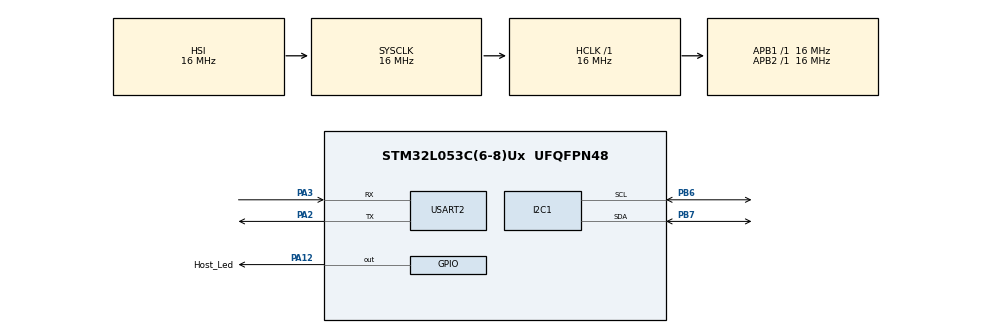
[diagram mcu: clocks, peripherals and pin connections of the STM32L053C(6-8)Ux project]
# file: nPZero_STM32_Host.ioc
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I2C1.I2C_Rise_Time=100
I2C1.Speed=100
I2C1.Timing=0x00503D58
Mcu.Family=STM32L0
Mcu.Name=STM32L053C(6-8)Ux
Mcu.Package=UFQFPN48
PA12.GPIO_Label=Host_Led
PA12.GPIO_PuPd=GPIO_NOPULL
PA12.PinState=GPIO_PIN_SET
PA12.Signal=GPIO_Output
PA2.Mode=Asynchronous
PA2.Signal=USART2_TX
PA3.Mode=Asynchronous
PA3.Signal=USART2_RX
PB6.GPIO_Pu=GPIO_PULLUP
PB6.Mode=I2C
PB6.Signal=I2C1_SCL
PB7.GPIO_Pu=GPIO_PULLUP
PB7.Mode=I2C
PB7.Signal=I2C1_SDA
ProjectManager.HeapSize=0x200
ProjectManager.StackSize=0x400
ProjectManager.TargetToolchain=STM32CubeIDE
RCC.AHBFreq_Value=16000000
RCC.APB1Freq_Value=16000000
RCC.APB1TimFreq_Value=16000000
RCC.APB2Freq_Value=16000000
RCC.APB2TimFreq_Value=16000000
RCC.HCLKFreq_Value=16000000
RCC.HSE_VALUE=25000000
RCC.HSI16_VALUE=16000000
RCC.HSI48_VALUE=48000000
RCC.HSI_VALUE=16000000
RCC.I2c1ClockSelection=RCC_I2C1CLKSOURCE_HSI
RCC.LSE_VALUE=32768
RCC.MSI_VALUE=2097000
RCC.SYSCLKFreq_VALUE=16000000
RCC.SYSCLKSource=RCC_SYSCLKSOURCE_HSI
RCC.Usart2ClockSelection=RCC_USART2CLKSOURCE_HSI
RCC.VCOOutputFreq_Value=48000000
USART2.VirtualMode-Asynchronous=VM_ASYNC
VP_SYS_V_PVD_IN.Mode=Mode_PVD_Int
board=custom

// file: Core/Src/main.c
/* USER CODE BEGIN Header */
/**
 ******************************************************************************
 * @file           : main.c
 * @brief          : Main program body
 ******************************************************************************
 * @attention
 *
 * Copyright (c) 2023 STMicroelectronics.
 * All rights reserved.
 *
 * This software is licensed under terms that can be found in the LICENSE file
 * in the root directory of this software component.
 * If no LICENSE file comes with this software, it is provided AS-IS.
 *
 ******************************************************************************
 */
/* USER CODE END Header */
#include "main.h"

/* USER CODE BEGIN Includes */
#include "stm32l0xx_hal.h"
#include <stdio.h>

#include "../../Drivers/nPZero_Driver/Inc/npz.h"
#include "../../Drivers/nPZero_Driver/Inc/npz_device_control.h"
#include "../../Drivers/nPZero_Driver/Inc/npz_hal.h"
#include "../../Drivers/nPZero_Driver/Inc/npz_logs.h"
#include "../../Drivers/nPZero_Driver/Inc/npz_registers.h"
/* USER CODE END Includes */

I2C_HandleTypeDef hi2c1;

UART_HandleTypeDef huart2;

void SystemClock_Config(void);
static void MX_GPIO_Init(void);
static void MX_I2C1_Init(void);
static void MX_USART2_UART_Init(void);
/* USER CODE BEGIN PFP */
void Configure_BOR();
void Check_Reset_Cause();
/* USER CODE END PFP */

/* USER CODE BEGIN 0 */
int _write(int file, char *data, int len)
{
	HAL_UART_Transmit(&huart2, (uint8_t*) data, len, HAL_MAX_DELAY);
	return len;
}

npz_peripheral_config_s peripheral_3 = {
    .power_mode = POWER_MODE_PERIODIC,
    .communication_protocol = COM_SPI,
    .polling_mode = POLLING_MODE_PERIODIC_READ_COMPARE_THRESHOLD,
    .power_switch_mode = POWER_SWITCH_MODE_LOGIC_OUTPUT_HIGH,
    .interrupt_pin_mode = INTERRUPT_PIN_MODE_INPUT_ACTIVE_HIGH,
    .comparison_mode = COMPARISON_MODE_INSIDE_THRESHOLD,
    .sensor_data_type = DATA_TYPE_INT16,
    .multi_byte_transfer_enable = 0,
    .swap_registers = 0,
    .spi_cfg.bytes_from_sram_num = 2,
    .spi_cfg.bytes_from_sram = {0x20, 0x10},
    .spi_cfg.bytes_from_sram_read_num = 1,
    .spi_cfg.bytes_from_sram_read = {0xA8},
    .spi_cfg.mode = SPIMOD_SPI_MODE_0,
    .polling_period = 50,
    .pre_wait_time = PRE_WAIT_TIME_EXTEND_256,
    .post_wait_time = POST_WAIT_TIME_EXTEND_256,
    .time_to_wait = 10,
    .threshold_over = 1000,
    .threshold_under = 64536,
};

npz_peripheral_config_s peripheral_4 = {
    .communication_protocol = COM_I2C,
    .power_mode = POWER_MODE_PERIODIC,
    .polling_mode = POLLING_MODE_PERIODIC_READ_COMPARE_THRESHOLD,
    .power_switch_mode = POWER_SWITCH_MODE_LOGIC_OUTPUT_HIGH,
    .interrupt_pin_mode = INTERRUPT_PIN_MODE_INPUT_ACTIVE_HIGH,
    .comparison_mode = COMPARISON_MODE_INSIDE_THRESHOLD,
    .sensor_data_type  = DATA_TYPE_INT16,
    .multi_byte_transfer_enable  = MULTIBYTE_TRANSFER_ENABLE,
    .swap_registers = ENDIAN_BIG,
    .polling_period = 0x012C, // Wakeup peripheral every 30 seconds with 10Hz clock
    .i2c_cfg.sensor_address = 0x49,
    .i2c_cfg.command_num = 2,
    .i2c_cfg.bytes_from_sram = {0x01, 0x82, 0x02, 0xA0},
    .i2c_cfg.reg_address_value = 0x00,
    .i2c_cfg.wake_on_nak = ENABLED,
    .i2c_cfg.num_of_retries_on_nak = 3,
    .time_to_wait = 0x31, /* 0x31 (49 in decimal):
                           * When multiplied by 4096: 49 * 4096 = 200704  clock cycles * 2.5�s (1 / 400000),
                           * which equals 501.76ms at 400kHz.
                           * When multiplied by 256: 49 * 256 = 12544  clock cycles * 2.5�s (1 / 400000),
                           * which equals 31.36ms at 400kHz.
                           */
    .pre_wait_time = POST_WAIT_TIME_EXTEND_256,
    .post_wait_time = POST_WAIT_TIME_EXTEND_256,
    .threshold_over = 3600,
    .threshold_under = 1280,
};

npz_adc_config_channels_s npz_adc_internal_config = {
    .wakeup_enable = 0,
    .over_threshold = 0x2B,
    .under_threshold = 0x28,
};

npz_adc_config_channels_s npz_adc_external_config = {
    .wakeup_enable = 0,
    .over_threshold = 0x2D,
    .under_threshold = 0x26,
};

npz_device_config_s npz_configuration = {
    .host_power_mode = HOST_POWER_MODE_LOGIC_OUTPUT,
    .power_switch_normal_mode_per1 = 0,
    .power_switch_normal_mode_per2 = 0,
    .power_switch_normal_mode_per3 = 1,
    .power_switch_normal_mode_per4 = 1,
    .power_switch_gate_boost = 0,
    .system_clock_divider = SCLK_DIV_DISABLE,
    .system_clock_source = SYS_CLOCK_10HZ,
    .io_strength = IO_STR_NORMAL,
    .i2c_pull_mode = I2C_PULL_AUTO,
    .spi_auto = SPI_PINS_ALWAYS_ON,
    .xo_clock_out_sel = XO_CLK_OFF,
    .wake_up_per1 = 0,
    .wake_up_per2 = 0,
    .wake_up_per3 = 1,
    .wake_up_per4 = 1,
    .wake_up_any_or_all = WAKEUP_ANY,
    .global_timeout = 0x0BB8,
    .interrupt_pin_pull_up_pin1 = INT_PIN_PULL_HIGH,
    .interrupt_pin_pull_up_pin2 = INT_PIN_PULL_HIGH,
    .interrupt_pin_pull_up_pin3 = INT_PIN_PULL_HIGH,
    .interrupt_pin_pull_up_pin4 = INT_PIN_PULL_HIGH,
    .adc_ext_sampling_enable = 0,
    .adc_clock_sel = ADC_CLK_256,
    .adc_channels = {0, 0},
    .peripherals = {0, 0, &peripheral_3, &peripheral_4},
};

static void read_peripheral_acc(int peripheral_value)
{
    // Cast the acceleration value to INT16 (signed), and convert it to mg
    float acceleration_x = (float)(int16_t)peripheral_value * 2.0f * 1000.0f / 32768.0f;
    printf("Acceleration X axis: %.2f mg\r\n", acceleration_x);
}

static void read_peripheral_temp(int peripheral_value)
{
    // Calculate the temperature in degrees Celsius
    float temperature = peripheral_value * 0.0078125f;  // AS6212 temperature sensor resolution is 0.0078125°C.
    printf("Calculated temperature: %.3f °C\r\n", temperature);
}

static void npz_read_status_registers(npz_status_s *status)
{
    // Handle status2
    // Read the first status register
    if (npz_read_STA1(&status->status1) != OK)
    {
        return;
    }

    // Handle status1
    if (status->status1.reset_source == RESETSOURCE_NONE)
    {
        //printf("Reset source is None\r\n");
    }
    else if (status->status1.reset_source == RESETSOURCE_PWR_RESET)
    {
        //printf("Power-on reset triggered\r\n");

    }
    else if (status->status1.reset_source == RESETSOURCE_SOFT_RESET)
    {
        //printf("Soft reset triggered (via I2C command)\r\n");
    }
    else if (status->status1.reset_source == RESETSOURCE_EXT_RESET)
    {
        //printf("External reset triggered (via RST pin)\r\n");
    }
    else
    {
    	//
    }

    if (status->status1.ext_adc_triggered == 1)
    {
        if (!npz_device_handle_adc_external())
        {
            return;
        }
    }

    if (status->status1.int_adc_triggered == 1)
    {
        if (!npz_device_handle_adc_internal())
        {
            return;
        }
    }

    if (status->status1.global_timeout_triggered == 1)
    {
        printf("Global Timeout triggered before any wake up source triggered\r\n");
    }

    // Read the second status register
    if (npz_read_STA2(&status->status2) != OK)
    {
        return;
    }

    // Handle status2
    // Arrays to map peripherals and switches
    npz_psw_e switches[4] = {PSW_LP1, PSW_LP2, PSW_LP3, PSW_LP4};
    uint8_t triggered[4] = {status->status2.per1_triggered, status->status2.per2_triggered,
                            status->status2.per3_triggered, status->status2.per4_triggered};
    uint8_t timeouts[4] = {status->status2.per1_global_timeout, status->status2.per2_global_timeout,
                           status->status2.per3_global_timeout, status->status2.per4_global_timeout};

    // Iterate over each peripheral to check for triggers and timeouts
    for (int i = 0; i < 4; i++)
    {
       if (triggered[i]) // Check if peripheral is triggered
       {
            int peripheral_value = 0;

            npz_device_read_peripheral_value(switches[i], i,
                                             &peripheral_value); // Read the peripheral value based on the switch

            if (npz_configuration.peripherals[i]->communication_protocol == COM_SPI && i == 2)
            {
                read_peripheral_acc(peripheral_value);
            }
            else if (npz_configuration.peripherals[i]->communication_protocol == COM_I2C &&
                (npz_configuration.peripherals[i]->polling_mode == POLLING_MODE_PERIODIC_READ_COMPARE_THRESHOLD ||
                 npz_configuration.peripherals[i]->polling_mode ==
                     POLLING_MODE_PERIODIC_WAIT_INTERRUPT_COMPARE_THRESHOLD))
            {
                read_peripheral_temp(peripheral_value);
            }
        }

        if (timeouts[i]) // Check if global timeout is triggered for this peripheral
        {
            printf("Peripheral %d global timeout was triggered\r\n", i + 1); // Log the timeout event
        }
    }
}

/* USER CODE END 0 */

int main(void)
{

    /* MCU Configuration--------------------------------------------------------*/

    /* Reset of all peripherals, Initializes the Flash interface and the Systick. */
    HAL_Init();

    /* Configure the system clock */
    SystemClock_Config();

    /* Initialize all configured peripherals */
    MX_GPIO_Init();
    MX_I2C1_Init();
    MX_USART2_UART_Init();
    /* USER CODE BEGIN 2 */
    // Print welcome message
    printf("\nnPZero Host is active ......\r\n");

    HAL_Delay(300);

    // Initialize the npz interface
    npz_init();

    // Read the status registers of the npz device after every reset
    npz_status_s npz_status = { 0 };

    npz_read_status_registers(&npz_status);

    // Send the configuration to the device
    npz_device_configure(&npz_configuration);

    // Logs and reads all configuration registers for debugging purposes
    npz_log_configurations(&npz_configuration);

    // Add a delay in main, to give the user time to flash the MCU before it enters sleep
    // This delay should be removed in production code
    HAL_Delay(500);

    // At the end of your operations, put the device into sleep mode
    npz_device_go_to_idle();

    /* USER CODE END 2 */

    /* Infinite loop */
    while (1)
    {

        /* USER CODE BEGIN 3 */
	    // Do nothing.
	    HAL_Delay(1000);
        printf("Main thread is alive...\r\n");
    }
    /* USER CODE END 3 */
}

void SystemClock_Config(void)
{
  RCC_OscInitTypeDef RCC_OscInitStruct = {0};
  RCC_ClkInitTypeDef RCC_ClkInitStruct = {0};
  RCC_PeriphCLKInitTypeDef PeriphClkInit = {0};

  /** Configure the main internal regulator output voltage
  */
  __HAL_PWR_VOLTAGESCALING_CONFIG(PWR_REGULATOR_VOLTAGE_SCALE1);

  /** Initializes the RCC Oscillators according to the specified parameters
  * in the RCC_OscInitTypeDef structure.
  */
  RCC_OscInitStruct.OscillatorType = RCC_OSCILLATORTYPE_HSI;
  RCC_OscInitStruct.HSIState = RCC_HSI_ON;
  RCC_OscInitStruct.HSICalibrationValue = RCC_HSICALIBRATION_DEFAULT;
  RCC_OscInitStruct.PLL.PLLState = RCC_PLL_NONE;
  if (HAL_RCC_OscConfig(&RCC_OscInitStruct) != HAL_OK)
  {
    Error_Handler();
  }

  /** Initializes the CPU, AHB and APB buses clocks
  */
  RCC_ClkInitStruct.ClockType = RCC_CLOCKTYPE_HCLK|RCC_CLOCKTYPE_SYSCLK
                              |RCC_CLOCKTYPE_PCLK1|RCC_CLOCKTYPE_PCLK2;
  RCC_ClkInitStruct.SYSCLKSource = RCC_SYSCLKSOURCE_HSI;
  RCC_ClkInitStruct.AHBCLKDivider = RCC_SYSCLK_DIV1;
  RCC_ClkInitStruct.APB1CLKDivider = RCC_HCLK_DIV1;
  RCC_ClkInitStruct.APB2CLKDivider = RCC_HCLK_DIV1;

  if (HAL_RCC_ClockConfig(&RCC_ClkInitStruct, FLASH_LATENCY_0) != HAL_OK)
  {
    Error_Handler();
  }
  PeriphClkInit.PeriphClockSelection = RCC_PERIPHCLK_USART2|RCC_PERIPHCLK_I2C1;
  PeriphClkInit.Usart2ClockSelection = RCC_USART2CLKSOURCE_HSI;
  PeriphClkInit.I2c1ClockSelection = RCC_I2C1CLKSOURCE_HSI;
  if (HAL_RCCEx_PeriphCLKConfig(&PeriphClkInit) != HAL_OK)
  {
    Error_Handler();
  }
}

static void MX_I2C1_Init(void)
{

  hi2c1.Instance = I2C1;
  hi2c1.Init.Timing = 0x00503D58;
  hi2c1.Init.OwnAddress1 = 0;
  hi2c1.Init.AddressingMode = I2C_ADDRESSINGMODE_7BIT;
  hi2c1.Init.DualAddressMode = I2C_DUALADDRESS_DISABLE;
  hi2c1.Init.OwnAddress2 = 0;
  hi2c1.Init.OwnAddress2Masks = I2C_OA2_NOMASK;
  hi2c1.Init.GeneralCallMode = I2C_GENERALCALL_DISABLE;
  hi2c1.Init.NoStretchMode = I2C_NOSTRETCH_DISABLE;
  if (HAL_I2C_Init(&hi2c1) != HAL_OK)
  {
    Error_Handler();
  }

  /** Configure Analogue filter
  */
  if (HAL_I2CEx_ConfigAnalogFilter(&hi2c1, I2C_ANALOGFILTER_ENABLE) != HAL_OK)
  {
    Error_Handler();
  }

  /** Configure Digital filter
  */
  if (HAL_I2CEx_ConfigDigitalFilter(&hi2c1, 0) != HAL_OK)
  {
    Error_Handler();
  }

}

static void MX_USART2_UART_Init(void)
{

  huart2.Instance = USART2;
  huart2.Init.BaudRate = 115200;
  huart2.Init.WordLength = UART_WORDLENGTH_8B;
  huart2.Init.StopBits = UART_STOPBITS_1;
  huart2.Init.Parity = UART_PARITY_NONE;
  huart2.Init.Mode = UART_MODE_TX_RX;
  huart2.Init.HwFlowCtl = UART_HWCONTROL_NONE;
  huart2.Init.OverSampling = UART_OVERSAMPLING_16;
  huart2.Init.OneBitSampling = UART_ONE_BIT_SAMPLE_DISABLE;
  huart2.AdvancedInit.AdvFeatureInit = UART_ADVFEATURE_NO_INIT;
  if (HAL_UART_Init(&huart2) != HAL_OK)
  {
    Error_Handler();
  }

}

static void MX_GPIO_Init(void)
{
  GPIO_InitTypeDef GPIO_InitStruct = {0};

  /* GPIO Ports Clock Enable */
  __HAL_RCC_GPIOA_CLK_ENABLE();
  __HAL_RCC_GPIOB_CLK_ENABLE();

  /*Configure GPIO pin Output Level */
  HAL_GPIO_WritePin(Host_Led_GPIO_Port, Host_Led_Pin, GPIO_PIN_SET);

  /*Configure GPIO pin : Host_Led_Pin */
  GPIO_InitStruct.Pin = Host_Led_Pin;
  GPIO_InitStruct.Mode = GPIO_MODE_OUTPUT_PP;
  GPIO_InitStruct.Pull = GPIO_NOPULL;
  GPIO_InitStruct.Speed = GPIO_SPEED_FREQ_LOW;
  HAL_GPIO_Init(Host_Led_GPIO_Port, &GPIO_InitStruct);

}

/* USER CODE BEGIN 4 */
void Check_Reset_Cause() {
	if (__HAL_RCC_GET_FLAG(RCC_FLAG_PINRST)) {
		printf("Reset due to NRST pin reset.\r\n");
	}
	if (__HAL_RCC_GET_FLAG(RCC_FLAG_PORRST)) {
		printf("Reset due to Power-on reset.\r\n");

	}
	if (__HAL_RCC_GET_FLAG(RCC_FLAG_SFTRST)) {
		printf("Reset due to Software reset.\r\n");
	}
	if (__HAL_RCC_GET_FLAG(RCC_FLAG_IWDGRST)) {
		printf("Reset due to Independent Watchdog reset.\r\n");
	}
	if (__HAL_RCC_GET_FLAG(RCC_FLAG_WWDGRST)) {
		printf("Reset due to Window Watchdog reset.\r\n");
	}
	if (__HAL_RCC_GET_FLAG(RCC_FLAG_LPWRRST)) {
		printf("Reset due to Low Power reset.\r\n");
	}
	if (__HAL_PWR_GET_FLAG(PWR_FLAG_SB)) {
		printf("STM32 Host Woke Up from Standby Mode......\r\n");
	}

	__HAL_RCC_CLEAR_RESET_FLAGS();
}

void Configure_BOR(void) {
	FLASH_OBProgramInitTypeDef obConfig = { 0 };

	// Unlock the FLASH control register access
	HAL_FLASH_Unlock();

	// Unlock the Options Bytes
	HAL_FLASH_OB_Unlock();

	// Get the current option bytes configuration
	HAL_FLASHEx_OBGetConfig(&obConfig);
	//printf("Current BOR level: %d\r\n", obConfig.BORLevel);

	// Check if BOR is set to the desired level
	if (obConfig.BORLevel != OB_BOR_LEVEL1) {
		obConfig.OptionType = OPTIONBYTE_BOR;
		obConfig.BORLevel = OB_BOR_LEVEL1;
		if (HAL_FLASHEx_OBProgram(&obConfig) != HAL_OK) {
			// Error occurred while setting BOR level
			printf("Error occurred while setting BOR level.\r\n");
			Error_Handler();
		}

		// Launch the option byte loading to apply the new BOR level
		printf("Launching Option Bytes programming to disable BOR.\r\n");
		HAL_FLASH_OB_Launch();
	} else {
		//printf("BOR level is already set to OB_BOR_LEVEL1.\r\n");
	}

	// Lock the Options Bytes and FLASH control register access
	HAL_FLASH_OB_Lock();
	HAL_FLASH_Lock();
}
/* USER CODE END 4 */

void Error_Handler(void)
{
	__disable_irq();
	while (1) {
	}
}
